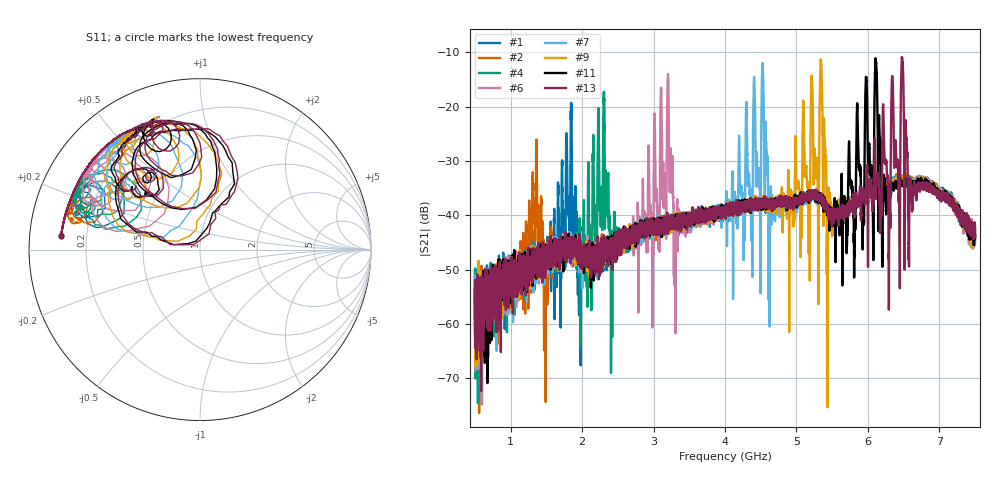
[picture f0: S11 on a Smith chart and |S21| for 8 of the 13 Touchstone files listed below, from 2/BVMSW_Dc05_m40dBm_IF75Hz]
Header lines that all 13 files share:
!Keysight Technologies,M9374A,MY55442783,A.12.55.05
!Correction: S11(Full 2 Port(1,2))
!S21(Full 2 Port(1,2))
!S12(Full 2 Port(1,2))
!S22(Full 2 Port(1,2))
!S2P File: Measurements: S11, S21, S12, S22:
# Hz S  RI  R 50
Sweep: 500 MHz to 7.5 GHz
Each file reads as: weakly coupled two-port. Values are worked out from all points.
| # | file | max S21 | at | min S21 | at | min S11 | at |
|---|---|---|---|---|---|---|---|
| 1 | BVMSW_Dc05_i0.5.s2p | -19.30 dB | 1.845 GHz | -67.7 dB | 579 MHz | -6.1 dB | 1.846 GHz |
| 2 | BVMSW_Dc05_i0.s2p | -26.06 dB | 1.36 GHz | -76.4 dB | 558 MHz | -4.3 dB | 1.361 GHz |
| 3 | BVMSW_Dc05_i1.5.s2p | -15.35 dB | 2.756 GHz | -77.4 dB | 2.553 GHz | -9.1 dB | 2.756 GHz |
| 4 | BVMSW_Dc05_i1.s2p | -17.27 dB | 2.306 GHz | -74.5 dB | 541 MHz | -7.6 dB | 2.304 GHz |
| 5 | BVMSW_Dc05_i2.5.s2p | -13.26 dB | 3.653 GHz | -66.3 dB | 618 MHz | -11.8 dB | 3.655 GHz |
| 6 | BVMSW_Dc05_i2.s2p | -14.01 dB | 3.203 GHz | -74.8 dB | 597 MHz | -10.7 dB | 3.203 GHz |
| 7 | BVMSW_Dc05_i3.5.s2p | -11.99 dB | 4.527 GHz | -68.3 dB | 549 MHz | -14.8 dB | 4.53 GHz |
| 8 | BVMSW_Dc05_i3.s2p | -12.44 dB | 4.098 GHz | -68.3 dB | 514 MHz | -13.2 dB | 4.101 GHz |
| 9 | BVMSW_Dc05_i4.5.s2p | -11.32 dB | 5.343 GHz | -75.3 dB | 5.434 GHz | -20.0 dB | 5.348 GHz |
| 10 | BVMSW_Dc05_i4.s2p | -11.59 dB | 4.943 GHz | -69.4 dB | 572 MHz | -17.0 dB | 4.946 GHz |
| 11 | BVMSW_Dc05_i5.5.s2p | -11.15 dB | 6.108 GHz | -70.9 dB | 675 MHz | -25.2 dB | 6.116 GHz |
| 12 | BVMSW_Dc05_i5.s2p | -11.27 dB | 5.73 GHz | -82.7 dB | 609 MHz | -23.2 dB | 5.734 GHz |
| 13 | BVMSW_Dc05_i6.s2p | -10.93 dB | 6.476 GHz | -72.3 dB | 585 MHz | -26.7 dB | 6.486 GHz |
